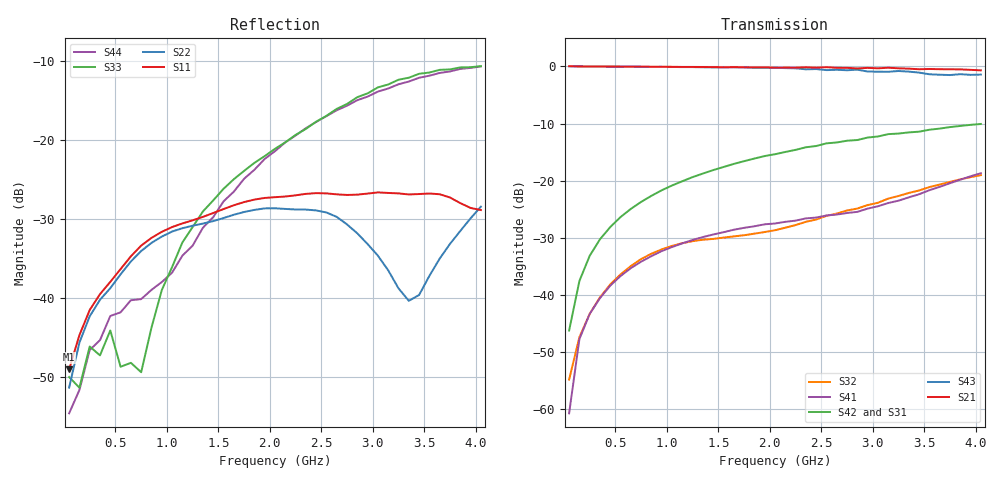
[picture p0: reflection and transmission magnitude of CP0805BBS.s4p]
! Network Analyzer HP8720D.07.14 Serial No. US38111185
! 28 Apr 1999  02:06:29
! Frequency 	S11		S21		S31		S41		S12		S22		S23		S24		S13		S23		S33		S34		S14		S24		S34		S44
# HZ  S  DB R 50
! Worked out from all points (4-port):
!   41 points, 50 MHz to 4.05 GHz, reference 50 ohm
!   strongest paths, dB at 50 MHz, 1.05 GHz, 2.05 GHz, 3.05 GHz, 4.05 GHz:
!     S21: 0.0, -0.1, -0.2, -0.3, -0.7
!     S43: 0.0, -0.1, -0.2, -0.9, -1.4
!     S42: -46.3, -20.9, -15.4, -12.3, -10.1
!     S31: -46.8, -20.9, -15.5, -12.4, -10.1
!     S41: -60.8, -31.6, -27.5, -24.5, -18.7
!     S32: -54.9, -31.4, -28.7, -23.9, -19.0
!   lowest |S11| = -49.0 dB at 50 MHz (marker M1), VSWR 1.01, Z = 50.3 - j0.0866 ohm
!   |S11| at or under -10 dB: start of sweep to end of sweep
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5e7  -49.03 -14.1  0.01 -0.5  -49.16 95.9  -57.88 101.5
     0.05 -0.6  -51.34 -15.4  -58.25 36.4  -47.50 94.9
     -46.84 90.6  -54.85 84.7  -49.99 -12.6  0.01 -0.8
     -60.76 79.5  -46.26 76.1  0.03 -0.8  -54.58 -13.7
2.5e8  -41.52 -70.0  -0.01 -3.6  -33.22 85.7  -43.43 86.0
       -0.01 -3.7  -42.32 -65.8  -43.45 86.5  -33.21 85.5
       -33.16 85.8  -43.33 85.2  -46.14 -61.4  -0.00 -4.9
       -43.34 84.6  -33.17 85.8  -0.01 -5.0  -46.58 -42.0
7.5e8  -33.38 -126.5  -0.03 -10.8  -23.75 76.9  -34.17 75.2
       -0.04 -10.8  -34.07 -113.8  -33.77 73.5  -23.72 76.9
       -23.76 76.9  -33.73 73.6  -49.38 146.0  -0.04 -14.6
       -34.19 75.2  -23.72 76.9  -0.05 -14.7  -40.15 -43.7
1.65e9  -28.29 170.6  -0.12 -23.8  -17.16 62.5  -28.60 61.7
        -0.13 -23.5  -29.49 -144.6  -29.71 58.4  -17.04 62.1
        -17.18 62.7  -29.77 58.5  -25.00 60.5  -0.21 -32.3
        -28.60 62.1  -17.07 62.5  -0.15 -32.2  -26.57 -3.5
2.65e9  -26.91 105.4  -0.29 -38.2  -13.36 46.6  -25.92 59.5
        -0.24 -37.8  -29.76 -167.2  -25.68 66.1  -13.21 45.4
        -13.41 47.8  -25.77 67.3  -16.11 -8.7  -0.66 -51.7
        -25.95 60.9  -13.32 46.7  -0.59 -51.5  -16.29 -22.2
3.35e9  -26.93 40.9  -0.31 -48.7  -11.51 38.2  -22.75 66.3
        -0.38 -48.4  -40.37 -126.8  -21.94 64.6  -11.35 36.1
        -11.70 38.3  -22.16 64.7  -12.17 -42.1  -0.89 -63.1
        -22.93 66.3  -11.55 36.0  -0.91 -64.0  -12.66 -47.2
4.05e9  -28.89 -28.4  -0.66 -59.1  -9.79 26.8  -18.42 57.2
        -0.69 -59.0  -28.47 -68.4  -18.79 50.1  -9.77 23.8
        -10.11 29.7  -19.04 53.7  -10.71 -71.3  -1.24 -76.2
        -18.71 59.9  -10.07 26.7  -1.42 -77.1  -10.74 -76.4
